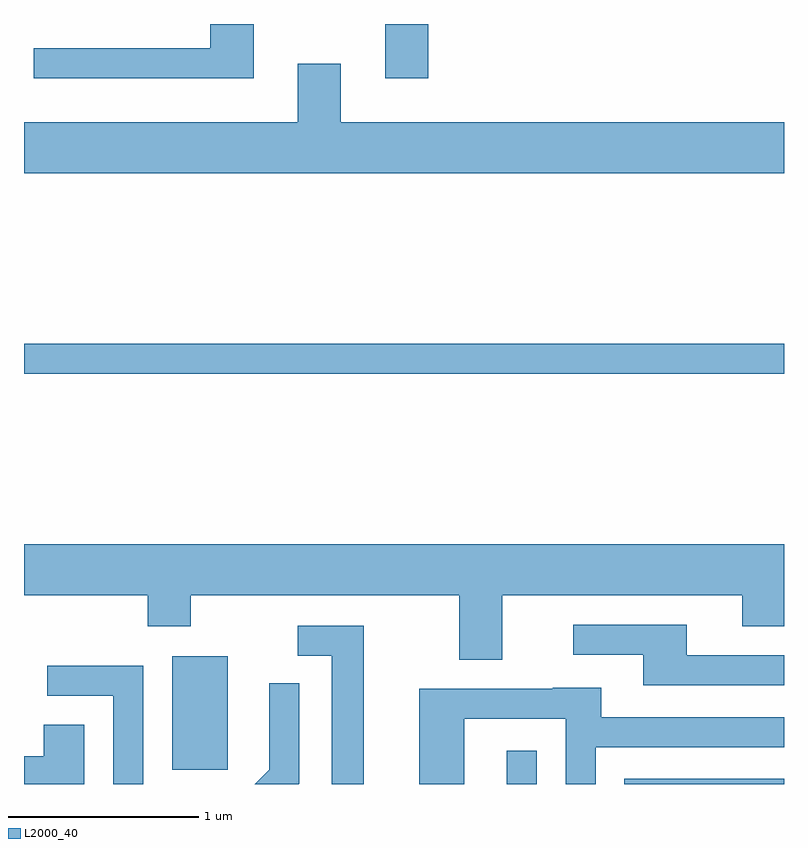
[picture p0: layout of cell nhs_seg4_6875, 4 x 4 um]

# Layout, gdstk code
import gdstk
lib = gdstk.Library(unit=1e-6, precision=1e-09)
def R(c, l, rs):  # rectangles x0, y0, x1, y1
    for r in rs: c.add(gdstk.rectangle(r[:2], r[2:], *l))
def P(c, l, *ps):  # polygons
    for p in ps: c.add(gdstk.Polygon(p, *l))
L2000_40 = (2000, 40)

nhs_seg4_6875 = lib.new_cell('nhs_seg4_6875')
R(nhs_seg4_6875, L2000_40, [(390.151,1275.982,390.309,1276.158), (390.771,1275.982,391.611,1276.009), (388.391,1276.056,388.684,1276.654), (387.611,1278.141,391.611,1278.299), (389.511,1279.696,389.739,1279.982)])
P(nhs_seg4_6875, L2000_40, [(388.819,1279.982),(388.591,1279.982),(388.591,1279.854),(387.663,1279.854),(387.663,1279.696),(388.819,1279.696)],
  [(391.611,1279.464),(389.279,1279.464),(389.279,1279.774),(389.051,1279.774),(389.051,1279.464),(387.611,1279.464),(387.611,1279.196),(391.611,1279.196)],
  [(390.129,1276.976),(391.391,1276.976),(391.391,1276.811),(391.611,1276.811),(391.611,1277.244),(387.611,1277.244),(387.611,1276.976),(388.261,1276.976),(388.261,1276.811),(388.489,1276.811),(388.489,1276.976),(389.901,1276.976),(389.901,1276.636),(390.129,1276.636)],
  [(391.611,1276.659),(391.099,1276.659),(391.099,1276.819),(390.503,1276.819),(390.503,1276.661),(390.871,1276.661),(390.871,1276.501),(391.611,1276.501)],
  [(389.399,1276.814),(389.053,1276.814),(389.053,1276.656),(389.231,1276.656),(389.231,1275.982),(389.399,1275.982)],
  [(388.239,1276.604),(387.733,1276.604),(387.733,1276.446),(388.081,1276.446),(388.081,1275.982),(388.239,1275.982)],
  [(389.059,1275.984),(389.059,1276.513),(388.901,1276.513),(388.901,1276.057),(388.826,1275.982),(389.057,1275.982)],
  [(389.929,1276.326),(390.461,1276.326),(390.461,1275.982),(390.619,1275.982),(390.619,1276.176),(391.611,1276.176),(391.611,1276.334),(390.649,1276.334),(390.649,1276.489),(390.395,1276.489),(390.395,1276.484),(389.691,1276.484),(389.691,1275.982),(389.929,1275.982)],
  [(387.929,1276.294),(387.716,1276.294),(387.716,1276.129),(387.611,1276.129),(387.611,1275.982),(387.929,1275.982)])

lib.write_gds('nhs_seg4_6875.gds')
